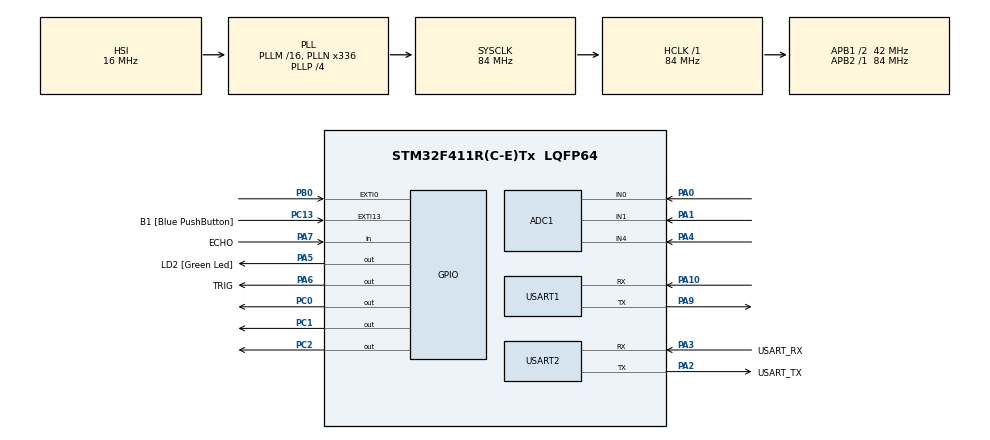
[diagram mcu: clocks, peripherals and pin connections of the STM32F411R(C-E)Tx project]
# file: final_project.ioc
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ADC1.Channel-0\#ChannelRegularConversion=ADC_CHANNEL_0
ADC1.Channel-1\#ChannelRegularConversion=ADC_CHANNEL_1
ADC1.Channel-2\#ChannelRegularConversion=ADC_CHANNEL_4
ADC1.ContinuousConvMode=ENABLE
ADC1.DMAContinuousRequests=ENABLE
ADC1.EOCSelection=ADC_EOC_SEQ_CONV
ADC1.NbrOfConversion=3
ADC1.NbrOfConversionFlag=1
ADC1.Rank-0\#ChannelRegularConversion=1
ADC1.Rank-1\#ChannelRegularConversion=2
ADC1.Rank-2\#ChannelRegularConversion=3
ADC1.SamplingTime-0\#ChannelRegularConversion=ADC_SAMPLETIME_480CYCLES
ADC1.SamplingTime-1\#ChannelRegularConversion=ADC_SAMPLETIME_480CYCLES
ADC1.SamplingTime-2\#ChannelRegularConversion=ADC_SAMPLETIME_480CYCLES
ADC1.master=1
Dma.ADC1.0.Direction=DMA_PERIPH_TO_MEMORY
Dma.ADC1.0.FIFOMode=DMA_FIFOMODE_DISABLE
Dma.ADC1.0.Instance=DMA2_Stream0
Dma.ADC1.0.MemDataAlignment=DMA_MDATAALIGN_HALFWORD
Dma.ADC1.0.MemInc=DMA_MINC_ENABLE
Dma.ADC1.0.Mode=DMA_CIRCULAR
Dma.ADC1.0.PeriphDataAlignment=DMA_PDATAALIGN_HALFWORD
Dma.ADC1.0.PeriphInc=DMA_PINC_DISABLE
Dma.ADC1.0.Priority=DMA_PRIORITY_LOW
Dma.Request0=ADC1
Mcu.Family=STM32F4
Mcu.Name=STM32F411R(C-E)Tx
Mcu.Package=LQFP64
NVIC.DMA2_Stream0_IRQn=true\:0\:0\:false\:false\:true\:false\:true\:true
NVIC.EXTI0_IRQn=true\:0\:0\:false\:false\:true\:true\:true\:true
NVIC.PriorityGroup=NVIC_PRIORITYGROUP_0
PA0-WKUP.Signal=ADCx_IN0
PA1.Signal=ADCx_IN1
PA10.Mode=Asynchronous
PA10.Signal=USART1_RX
PA13.GPIO_Label=TMS
PA13.Mode=Serial_Wire
PA13.Signal=SYS_JTMS-SWDIO
PA14.GPIO_Label=TCK
PA14.Mode=Serial_Wire
PA14.Signal=SYS_JTCK-SWCLK
PA2.GPIO_Label=USART_TX
PA2.Mode=Asynchronous
PA2.Signal=USART2_TX
PA3.GPIO_Label=USART_RX
PA3.Mode=Asynchronous
PA3.Signal=USART2_RX
PA4.Signal=ADCx_IN4
PA5.GPIO_Label=LD2 [Green Led]
PA5.Signal=GPIO_Output
PA6.GPIO_Label=TRIG
PA6.Signal=GPIO_Output
PA7.GPIO_Label=ECHO
PA7.Signal=GPIO_Input
PA9.Mode=Asynchronous
PA9.Signal=USART1_TX
PB0.Signal=GPXTI0
PB3.GPIO_Label=SWO
PB3.Signal=SYS_JTDO-SWO
PC0.Signal=GPIO_Output
PC1.Signal=GPIO_Output
PC13-ANTI_TAMP.GPIO_Label=B1 [Blue PushButton]
PC13-ANTI_TAMP.GPIO_ModeDefaultEXTI=GPIO_MODE_IT_FALLING
PC13-ANTI_TAMP.Signal=GPXTI13
PC14-OSC32_IN.Mode=LSE-External-Oscillator
PC14-OSC32_IN.Signal=RCC_OSC32_IN
PC15-OSC32_OUT.Mode=LSE-External-Oscillator
PC15-OSC32_OUT.Signal=RCC_OSC32_OUT
PC2.Signal=GPIO_Output
PH0\ -\ OSC_IN.Mode=HSE-External-Clock-Source
PH0\ -\ OSC_IN.Signal=RCC_OSC_IN
PH1\ -\ OSC_OUT.Mode=HSE-External-Clock-Source
PH1\ -\ OSC_OUT.Signal=RCC_OSC_OUT
ProjectManager.HeapSize=0x200
ProjectManager.StackSize=0x400
ProjectManager.TargetToolchain=STM32CubeIDE
RCC.48MHZClocksFreq_Value=84000000
RCC.AHBFreq_Value=84000000
RCC.APB1CLKDivider=RCC_HCLK_DIV2
RCC.APB1Freq_Value=42000000
RCC.APB1TimFreq_Value=84000000
RCC.APB2Freq_Value=84000000
RCC.APB2TimFreq_Value=84000000
RCC.CortexFreq_Value=84000000
RCC.FLatency-AdvancedSettings=FLASH_LATENCY_2
RCC.HCLKFreq_Value=84000000
RCC.HSE_VALUE=8000000
RCC.HSI_VALUE=16000000
RCC.PLLN=336
RCC.PLLP=RCC_PLLP_DIV4
RCC.SYSCLKFreq_VALUE=84000000
RCC.SYSCLKSource=RCC_SYSCLKSOURCE_PLLCLK
RCC.VCOOutputFreq_Value=336000000
SH.ADCx_IN0.0=ADC1_IN0,IN0
SH.ADCx_IN1.0=ADC1_IN1,IN1
SH.ADCx_IN4.0=ADC1_IN4,IN4
TIM4.Period=0
TIM4.Prescaler=84-1
USART1.VirtualMode=VM_ASYNC
USART2.VirtualMode=VM_ASYNC
VP_TIM4_VS_ClockSourceINT.Mode=Internal
board=NUCLEO-F411RE

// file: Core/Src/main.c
/* USER CODE BEGIN Header */
/**
 ******************************************************************************
 * @file           : main.c
 * @brief          : Main program body
 ******************************************************************************
 * @attention
 *
 * Copyright (c) 2022 STMicroelectronics.
 * All rights reserved.
 *
 * This software is licensed under terms that can be found in the LICENSE file
 * in the root directory of this software component.
 * If no LICENSE file comes with this software, it is provided AS-IS.
 *
 ******************************************************************************
 */
/* USER CODE END Header */
#include "main.h"

/* USER CODE BEGIN PTD */
float Flow;
char bufferFlow[20];
#define usTIM TIM4
/* USER CODE END PTD */

ADC_HandleTypeDef hadc1;
DMA_HandleTypeDef hdma_adc1;

TIM_HandleTypeDef htim4;

UART_HandleTypeDef huart1;
UART_HandleTypeDef huart2;

void SystemClock_Config(void);
static void MX_GPIO_Init(void);
static void MX_DMA_Init(void);
static void MX_USART2_UART_Init(void);
static void MX_ADC1_Init(void);
static void MX_USART1_UART_Init(void);
static void MX_TIM4_Init(void);
/* USER CODE BEGIN PFP */
void usDelay(uint32_t uSec);
/* USER CODE END PFP */

/* USER CODE BEGIN 0 */
unsigned short ADC_VAL[3];
//Speed of sound in cm/usec
const float speedOfSound = 0.0343;
float distance;

/* USER CODE END 0 */

int main(void)
{
  /* USER CODE BEGIN 1 */
	uint32_t numTicks;
  /* USER CODE END 1 */

  /* MCU Configuration--------------------------------------------------------*/

  /* Reset of all peripherals, Initializes the Flash interface and the Systick. */
  HAL_Init();

  /* Configure the system clock */
  SystemClock_Config();

  /* Initialize all configured peripherals */
  MX_GPIO_Init();
  MX_DMA_Init();
  MX_USART2_UART_Init();
  MX_ADC1_Init();
  MX_USART1_UART_Init();
  MX_TIM4_Init();
  /* USER CODE BEGIN 2 */
  char buf[256];
  int ret;
  char input_mode[2];
  int state = 0;
  HAL_ADC_Start_DMA(&hadc1, &ADC_VAL, 3);
	//mode 0 = auto
	//mode 1 = netpie
  int mode = 0;
  /* USER CODE END 2 */

  /* Infinite loop */
  /* USER CODE BEGIN WHILE */
	while (1) {
		//UART1 connect to Pi
		//UART2 connect to console
//		if (HAL_UART_Receive(&huart1, &input, 2, 1000) == HAL_OK){
//			if (input == 'on'){
//				//set water pump on
//				sprintf(buf, "water pump is on\n\r", distance);
//				HAL_UART_Transmit(&huart2, buf, strlen(buf), 10);
//				HAL_GPIO_WritePin(GPIOC, GPIO_PIN_2, GPIO_PIN_SET);
//				HAL_Delay(100);
//			}
//			if (input =='of'){
//				sprintf(buf, "water pump is off\n\r", distance);
//				HAL_UART_Transmit(&huart2, buf, strlen(buf), 10);
//				HAL_GPIO_WritePin(GPIOC, GPIO_PIN_2, GPIO_PIN_RESET);
//				HAL_Delay(100);
//			}
//		}
		if (HAL_UART_Receive(&huart1, &input_mode, 2, 1500) == HAL_OK){
			char test[2];
			test[0] = input_mode[0];
			test[1] = input_mode[1];
			if (test[0] == 'n' && test[1] == 'n'){
				mode = 1;
				uint8_t data[] = "set mode to netpie \r\n";
				HAL_UART_Transmit(&huart2, data, sizeof(data), 1000);
			}
			else if (test[0] == 'a' && test[1] == 'a'){
				mode = 0;
				uint8_t data[] = "set mode to auto \r\n";
				HAL_UART_Transmit(&huart2, data, sizeof(data), 1000);
			}
			if (test[0] == 'o' && test[1] == 'n'){
				uint8_t data[] = "set water pump on \r\n";
				HAL_UART_Transmit(&huart2, data, sizeof(data), 1000);
				HAL_GPIO_WritePin(GPIOC, GPIO_PIN_2, GPIO_PIN_SET);
			}
			else if (test[0] == 'o' && test[1] == 'f'){
				uint8_t data[] = "set water pump off \r\n";
				HAL_UART_Transmit(&huart2, data, sizeof(data), 100);
				HAL_GPIO_WritePin(GPIOC, GPIO_PIN_2, GPIO_PIN_RESET);
			}
		}

//		HAL_GPIO_WritePin(GPIOA, GPIO_PIN_5, GPIO_PIN_SET);

		//Set TRIG to LOW for few uSec
		HAL_GPIO_WritePin(TRIG_GPIO_Port, TRIG_Pin, GPIO_PIN_RESET);
		usDelay(3);
		//Start Ultrasonic measure routine
		//1. Output 10 usec TRIG
		HAL_GPIO_WritePin(TRIG_GPIO_Port, TRIG_Pin, GPIO_PIN_SET);
		usDelay(3);
		HAL_GPIO_WritePin(TRIG_GPIO_Port, TRIG_Pin, GPIO_PIN_RESET);

		//2. Wait for ECHO pin rising edge
		while(HAL_GPIO_ReadPin(ECHO_GPIO_Port, ECHO_Pin) == GPIO_PIN_RESET);

		//3. Start measuring ECHO pulse width in usec
		numTicks = 0;
		while(HAL_GPIO_ReadPin(ECHO_GPIO_Port, ECHO_Pin) == GPIO_PIN_SET){
			numTicks++;
			usDelay(2); //2.8usec
		};

		//4. Estimate distance in cm
		distance = ((numTicks + 0.0f)*2.8*speedOfSound/2) +3.7;

		//5. Print to UART terminal for debugging
		sprintf(buf, "distance(cm):%.1f\n\r", distance);
		HAL_UART_Transmit(&huart2, buf, strlen(buf), 1000);
		HAL_UART_Transmit(&huart1, buf, strlen(buf), 1000);

		//new code
		//water sensor2 top
		//PA1
		int water_sensor_2 = ADC_VAL[1];
		sprintf(buf, "watersensor2:%d\n\r", water_sensor_2);
		HAL_UART_Transmit(&huart2, buf, strlen(buf), 1000);
		HAL_UART_Transmit(&huart1, buf, strlen(buf), 1000);
		//water sensor1 bottom
		//PA0
		int water_sensor_1 = ADC_VAL[0];
		sprintf(buf, "watersensor1:%d\n\r", water_sensor_1);
		HAL_UART_Transmit(&huart2, buf, strlen(buf), 1000);
		HAL_UART_Transmit(&huart1, buf, strlen(buf), 1000);

		//PA4
		int rain_sensor = ADC_VAL[2];
		sprintf(buf, "rainsensor:%d\n\r", rain_sensor);
//		HAL_UART_Transmit(&huart2, buf, strlen(buf), 1000);
		if (rain_sensor < 4000) {
			uint8_t rain_status[] = "rainingstatus:on\n\r";
			HAL_UART_Transmit(&huart2, rain_status, strlen(rain_status), 1000);
			HAL_UART_Transmit(&huart1, rain_status, strlen(rain_status), 1000);
		} else{
			uint8_t rain_status[] = "rainingstatus:off\n\r";
			HAL_UART_Transmit(&huart2, rain_status, strlen(rain_status), 1000);
			HAL_UART_Transmit(&huart1, rain_status, strlen(rain_status), 1000);
		}

		if (water_sensor_2 >= 2000 && !mode) {
			//set water pump on PC2
			HAL_GPIO_WritePin(GPIOC, GPIO_PIN_2, GPIO_PIN_SET);
		} else {
			if (water_sensor_1 < 1600 && !mode) {
				//set water pump off
				HAL_GPIO_WritePin(GPIOC, GPIO_PIN_2, GPIO_PIN_RESET);
//				HAL_GPIO_WritePin(GPIOC, GPIO_PIN_1, GPIO_PIN_RESET);
			}
		}

		//water flow
		sprintf(bufferFlow, "waterflow:%2.1f\n\r", Flow);
		HAL_UART_Transmit(&huart2, bufferFlow, strlen(bufferFlow), 1000);
		HAL_UART_Transmit(&huart1, bufferFlow, strlen(bufferFlow), 1000);
		int open = 1;

		if (Flow < 10) {
			//set buzzer on
//			HAL_GPIO_WritePin(GPIOC, GPIO_PIN_1, GPIO_PIN_SET);
			//set led on PC0
			HAL_GPIO_WritePin(GPIOC, GPIO_PIN_0, GPIO_PIN_SET);
		} else {
			//set buzzer off
//			HAL_GPIO_WritePin(GPIOC, GPIO_PIN_1, GPIO_PIN_RESET);
			//set led off
			HAL_GPIO_WritePin(GPIOC, GPIO_PIN_0, GPIO_PIN_RESET);
		}
		char out[] = "\n\r";
		HAL_UART_Transmit(&huart2, out, strlen(out), 1000);
		HAL_Delay(100);
    /* USER CODE END WHILE */

	}
}

void SystemClock_Config(void)
{
  RCC_OscInitTypeDef RCC_OscInitStruct = {0};
  RCC_ClkInitTypeDef RCC_ClkInitStruct = {0};

  /** Configure the main internal regulator output voltage
  */
  __HAL_RCC_PWR_CLK_ENABLE();
  __HAL_PWR_VOLTAGESCALING_CONFIG(PWR_REGULATOR_VOLTAGE_SCALE1);

  /** Initializes the RCC Oscillators according to the specified parameters
  * in the RCC_OscInitTypeDef structure.
  */
  RCC_OscInitStruct.OscillatorType = RCC_OSCILLATORTYPE_HSI;
  RCC_OscInitStruct.HSIState = RCC_HSI_ON;
  RCC_OscInitStruct.HSICalibrationValue = RCC_HSICALIBRATION_DEFAULT;
  RCC_OscInitStruct.PLL.PLLState = RCC_PLL_ON;
  RCC_OscInitStruct.PLL.PLLSource = RCC_PLLSOURCE_HSI;
  RCC_OscInitStruct.PLL.PLLM = 16;
  RCC_OscInitStruct.PLL.PLLN = 336;
  RCC_OscInitStruct.PLL.PLLP = RCC_PLLP_DIV4;
  RCC_OscInitStruct.PLL.PLLQ = 4;
  if (HAL_RCC_OscConfig(&RCC_OscInitStruct) != HAL_OK)
  {
    Error_Handler();
  }

  /** Initializes the CPU, AHB and APB buses clocks
  */
  RCC_ClkInitStruct.ClockType = RCC_CLOCKTYPE_HCLK|RCC_CLOCKTYPE_SYSCLK
                              |RCC_CLOCKTYPE_PCLK1|RCC_CLOCKTYPE_PCLK2;
  RCC_ClkInitStruct.SYSCLKSource = RCC_SYSCLKSOURCE_PLLCLK;
  RCC_ClkInitStruct.AHBCLKDivider = RCC_SYSCLK_DIV1;
  RCC_ClkInitStruct.APB1CLKDivider = RCC_HCLK_DIV2;
  RCC_ClkInitStruct.APB2CLKDivider = RCC_HCLK_DIV1;

  if (HAL_RCC_ClockConfig(&RCC_ClkInitStruct, FLASH_LATENCY_2) != HAL_OK)
  {
    Error_Handler();
  }
}

static void MX_ADC1_Init(void)
{

  ADC_ChannelConfTypeDef sConfig = {0};

  /** Configure the global features of the ADC (Clock, Resolution, Data Alignment and number of conversion)
  */
  hadc1.Instance = ADC1;
  hadc1.Init.ClockPrescaler = ADC_CLOCK_SYNC_PCLK_DIV4;
  hadc1.Init.Resolution = ADC_RESOLUTION_12B;
  hadc1.Init.ScanConvMode = ENABLE;
  hadc1.Init.ContinuousConvMode = ENABLE;
  hadc1.Init.DiscontinuousConvMode = DISABLE;
  hadc1.Init.ExternalTrigConvEdge = ADC_EXTERNALTRIGCONVEDGE_NONE;
  hadc1.Init.ExternalTrigConv = ADC_SOFTWARE_START;
  hadc1.Init.DataAlign = ADC_DATAALIGN_RIGHT;
  hadc1.Init.NbrOfConversion = 3;
  hadc1.Init.DMAContinuousRequests = ENABLE;
  hadc1.Init.EOCSelection = ADC_EOC_SEQ_CONV;
  if (HAL_ADC_Init(&hadc1) != HAL_OK)
  {
    Error_Handler();
  }

  /** Configure for the selected ADC regular channel its corresponding rank in the sequencer and its sample time.
  */
  sConfig.Channel = ADC_CHANNEL_0;
  sConfig.Rank = 1;
  sConfig.SamplingTime = ADC_SAMPLETIME_480CYCLES;
  if (HAL_ADC_ConfigChannel(&hadc1, &sConfig) != HAL_OK)
  {
    Error_Handler();
  }

  /** Configure for the selected ADC regular channel its corresponding rank in the sequencer and its sample time.
  */
  sConfig.Channel = ADC_CHANNEL_1;
  sConfig.Rank = 2;
  if (HAL_ADC_ConfigChannel(&hadc1, &sConfig) != HAL_OK)
  {
    Error_Handler();
  }

  /** Configure for the selected ADC regular channel its corresponding rank in the sequencer and its sample time.
  */
  sConfig.Channel = ADC_CHANNEL_4;
  sConfig.Rank = 3;
  if (HAL_ADC_ConfigChannel(&hadc1, &sConfig) != HAL_OK)
  {
    Error_Handler();
  }

}

static void MX_TIM4_Init(void)
{

  TIM_ClockConfigTypeDef sClockSourceConfig = {0};
  TIM_MasterConfigTypeDef sMasterConfig = {0};

  htim4.Instance = TIM4;
  htim4.Init.Prescaler = 84-1;
  htim4.Init.CounterMode = TIM_COUNTERMODE_UP;
  htim4.Init.Period = 0;
  htim4.Init.ClockDivision = TIM_CLOCKDIVISION_DIV1;
  htim4.Init.AutoReloadPreload = TIM_AUTORELOAD_PRELOAD_DISABLE;
  if (HAL_TIM_Base_Init(&htim4) != HAL_OK)
  {
    Error_Handler();
  }
  sClockSourceConfig.ClockSource = TIM_CLOCKSOURCE_INTERNAL;
  if (HAL_TIM_ConfigClockSource(&htim4, &sClockSourceConfig) != HAL_OK)
  {
    Error_Handler();
  }
  sMasterConfig.MasterOutputTrigger = TIM_TRGO_RESET;
  sMasterConfig.MasterSlaveMode = TIM_MASTERSLAVEMODE_DISABLE;
  if (HAL_TIMEx_MasterConfigSynchronization(&htim4, &sMasterConfig) != HAL_OK)
  {
    Error_Handler();
  }

}

static void MX_USART1_UART_Init(void)
{

  huart1.Instance = USART1;
  huart1.Init.BaudRate = 115200;
  huart1.Init.WordLength = UART_WORDLENGTH_8B;
  huart1.Init.StopBits = UART_STOPBITS_1;
  huart1.Init.Parity = UART_PARITY_NONE;
  huart1.Init.Mode = UART_MODE_TX_RX;
  huart1.Init.HwFlowCtl = UART_HWCONTROL_NONE;
  huart1.Init.OverSampling = UART_OVERSAMPLING_16;
  if (HAL_UART_Init(&huart1) != HAL_OK)
  {
    Error_Handler();
  }

}

static void MX_USART2_UART_Init(void)
{

  huart2.Instance = USART2;
  huart2.Init.BaudRate = 115200;
  huart2.Init.WordLength = UART_WORDLENGTH_8B;
  huart2.Init.StopBits = UART_STOPBITS_1;
  huart2.Init.Parity = UART_PARITY_NONE;
  huart2.Init.Mode = UART_MODE_TX_RX;
  huart2.Init.HwFlowCtl = UART_HWCONTROL_NONE;
  huart2.Init.OverSampling = UART_OVERSAMPLING_16;
  if (HAL_UART_Init(&huart2) != HAL_OK)
  {
    Error_Handler();
  }

}

static void MX_DMA_Init(void)
{

  /* DMA controller clock enable */
  __HAL_RCC_DMA2_CLK_ENABLE();

  /* DMA interrupt init */
  /* DMA2_Stream0_IRQn interrupt configuration */
  HAL_NVIC_SetPriority(DMA2_Stream0_IRQn, 0, 0);
  HAL_NVIC_EnableIRQ(DMA2_Stream0_IRQn);

}

static void MX_GPIO_Init(void)
{
  GPIO_InitTypeDef GPIO_InitStruct = {0};

  /* GPIO Ports Clock Enable */
  __HAL_RCC_GPIOC_CLK_ENABLE();
  __HAL_RCC_GPIOH_CLK_ENABLE();
  __HAL_RCC_GPIOA_CLK_ENABLE();
  __HAL_RCC_GPIOB_CLK_ENABLE();

  /*Configure GPIO pin Output Level */
  HAL_GPIO_WritePin(GPIOC, GPIO_PIN_0|GPIO_PIN_1|GPIO_PIN_2, GPIO_PIN_RESET);

  /*Configure GPIO pin Output Level */
  HAL_GPIO_WritePin(GPIOA, LD2_Pin|TRIG_Pin, GPIO_PIN_RESET);

  /*Configure GPIO pin : B1_Pin */
  GPIO_InitStruct.Pin = B1_Pin;
  GPIO_InitStruct.Mode = GPIO_MODE_IT_FALLING;
  GPIO_InitStruct.Pull = GPIO_NOPULL;
  HAL_GPIO_Init(B1_GPIO_Port, &GPIO_InitStruct);

  /*Configure GPIO pins : PC0 PC1 PC2 */
  GPIO_InitStruct.Pin = GPIO_PIN_0|GPIO_PIN_1|GPIO_PIN_2;
  GPIO_InitStruct.Mode = GPIO_MODE_OUTPUT_PP;
  GPIO_InitStruct.Pull = GPIO_NOPULL;
  GPIO_InitStruct.Speed = GPIO_SPEED_FREQ_LOW;
  HAL_GPIO_Init(GPIOC, &GPIO_InitStruct);

  /*Configure GPIO pins : LD2_Pin TRIG_Pin */
  GPIO_InitStruct.Pin = LD2_Pin|TRIG_Pin;
  GPIO_InitStruct.Mode = GPIO_MODE_OUTPUT_PP;
  GPIO_InitStruct.Pull = GPIO_NOPULL;
  GPIO_InitStruct.Speed = GPIO_SPEED_FREQ_LOW;
  HAL_GPIO_Init(GPIOA, &GPIO_InitStruct);

  /*Configure GPIO pin : ECHO_Pin */
  GPIO_InitStruct.Pin = ECHO_Pin;
  GPIO_InitStruct.Mode = GPIO_MODE_INPUT;
  GPIO_InitStruct.Pull = GPIO_NOPULL;
  HAL_GPIO_Init(ECHO_GPIO_Port, &GPIO_InitStruct);

  /*Configure GPIO pin : PB0 */
  GPIO_InitStruct.Pin = GPIO_PIN_0;
  GPIO_InitStruct.Mode = GPIO_MODE_IT_RISING;
  GPIO_InitStruct.Pull = GPIO_NOPULL;
  HAL_GPIO_Init(GPIOB, &GPIO_InitStruct);

  /* EXTI interrupt init*/
  HAL_NVIC_SetPriority(EXTI0_IRQn, 0, 0);
  HAL_NVIC_EnableIRQ(EXTI0_IRQn);

}

/* USER CODE BEGIN 4 */
void usDelay(uint32_t uSec){
	if (uSec < 2) uSec = 2;
	usTIM->ARR = uSec - 1;
	usTIM->EGR = 1;
	usTIM->SR &= ~1;
	usTIM->CR1 |= 1;
	while((usTIM->SR&0x0001) != 1);
	usTIM->SR &= ~(0x0001);
}
/* USER CODE END 4 */

void Error_Handler(void)
{
	__disable_irq();
	while (1) {
	}
}
